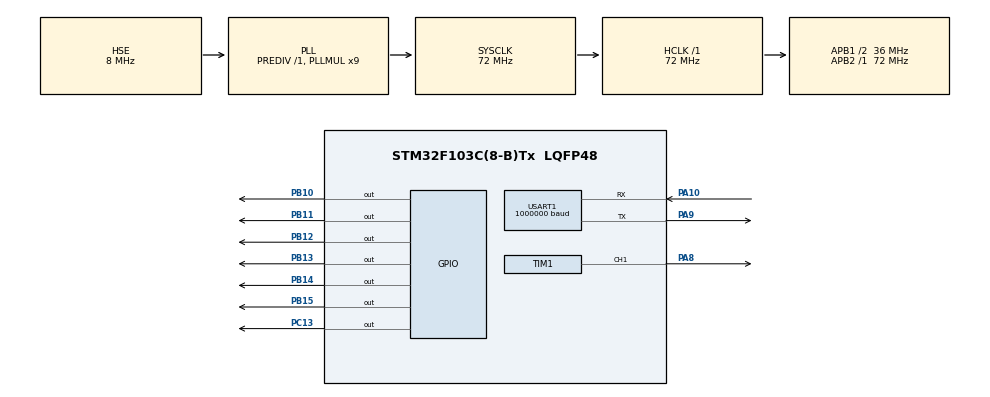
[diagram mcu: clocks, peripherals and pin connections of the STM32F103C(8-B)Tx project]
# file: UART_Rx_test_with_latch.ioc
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Dma.Request0=TIM1_CH1
Dma.TIM1_CH1.0.Direction=DMA_MEMORY_TO_PERIPH
Dma.TIM1_CH1.0.Instance=DMA1_Channel2
Dma.TIM1_CH1.0.MemDataAlignment=DMA_MDATAALIGN_BYTE
Dma.TIM1_CH1.0.MemInc=DMA_MINC_ENABLE
Dma.TIM1_CH1.0.Mode=DMA_CIRCULAR
Dma.TIM1_CH1.0.PeriphDataAlignment=DMA_PDATAALIGN_WORD
Dma.TIM1_CH1.0.PeriphInc=DMA_PINC_DISABLE
Dma.TIM1_CH1.0.Priority=DMA_PRIORITY_LOW
Mcu.Family=STM32F1
Mcu.Name=STM32F103C(8-B)Tx
Mcu.Package=LQFP48
NVIC.DMA1_Channel2_IRQn=true\:0\:0\:false\:false\:true\:false\:true
NVIC.PriorityGroup=NVIC_PRIORITYGROUP_4
NVIC.USART1_IRQn=true\:0\:0\:false\:false\:true\:true\:true
PA10.GPIO_PuPd=GPIO_PULLUP
PA10.Mode=Asynchronous
PA10.Signal=USART1_RX
PA13.Mode=Serial_Wire
PA13.Signal=SYS_JTMS-SWDIO
PA14.Mode=Serial_Wire
PA14.Signal=SYS_JTCK-SWCLK
PA8.GPIO_ModeDefaultPP=GPIO_MODE_AF_OD
PA8.Signal=S_TIM1_CH1
PA9.Mode=Asynchronous
PA9.Signal=USART1_TX
PB10.Signal=GPIO_Output
PB11.Signal=GPIO_Output
PB12.Signal=GPIO_Output
PB13.Signal=GPIO_Output
PB14.Signal=GPIO_Output
PB15.Signal=GPIO_Output
PC13-TAMPER-RTC.Signal=GPIO_Output
PC14-OSC32_IN.Mode=LSE-External-Oscillator
PC14-OSC32_IN.Signal=RCC_OSC32_IN
PC15-OSC32_OUT.Mode=LSE-External-Oscillator
PC15-OSC32_OUT.Signal=RCC_OSC32_OUT
PD0-OSC_IN.Mode=HSE-External-Oscillator
PD0-OSC_IN.Signal=RCC_OSC_IN
PD1-OSC_OUT.Mode=HSE-External-Oscillator
PD1-OSC_OUT.Signal=RCC_OSC_OUT
ProjectManager.HeapSize=0x200
ProjectManager.StackSize=0x400
ProjectManager.TargetToolchain=STM32CubeIDE
RCC.AHBFreq_Value=72000000
RCC.APB1CLKDivider=RCC_HCLK_DIV2
RCC.APB1Freq_Value=36000000
RCC.APB1TimFreq_Value=72000000
RCC.APB2Freq_Value=72000000
RCC.APB2TimFreq_Value=72000000
RCC.HCLKFreq_Value=72000000
RCC.PLLMUL=RCC_PLL_MUL9
RCC.PLLSourceVirtual=RCC_PLLSOURCE_HSE
RCC.SYSCLKFreq_VALUE=72000000
RCC.SYSCLKSource=RCC_SYSCLKSOURCE_PLLCLK
RCC.USBFreq_Value=72000000
SH.S_TIM1_CH1.0=TIM1_CH1,PWM Generation1 CH1
TIM1.Channel-PWM\ Generation1\ CH1=TIM_CHANNEL_1
TIM2.Prescaler=71
USART1.BaudRate=1000000
USART1.Mode=MODE_RX
USART1.Parity=PARITY_NONE
USART1.StopBits=STOPBITS_1
USART1.VirtualMode=VM_ASYNC
USART1.WordLength=WORDLENGTH_8B
VP_TIM1_VS_ClockSourceINT.Mode=Internal
VP_TIM2_VS_ClockSourceINT.Mode=Internal
board=custom

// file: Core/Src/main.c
/* USER CODE BEGIN Header */
/**
  ******************************************************************************
  * @file           : main.c
  * @brief          : Main program body
  ******************************************************************************
  * @attention
  *
  * Copyright (c) 2022 STMicroelectronics.
  * All rights reserved.
  *
  * This software is licensed under terms that can be found in the LICENSE file
  * in the root directory of this software component.
  * If no LICENSE file comes with this software, it is provided AS-IS.
  *
  ******************************************************************************
  */
/* USER CODE END Header */
#include "main.h"

/* USER CODE BEGIN Includes */
#include "ARGB.h"
/* USER CODE END Includes */

/* USER CODE BEGIN PD */
#define MAX_NUM_LED 87
#define LED_BRIGHT 100
#define LED_CHANNEL_COUNT 16
/* USER CODE END PD */

TIM_HandleTypeDef htim1;
TIM_HandleTypeDef htim2;
DMA_HandleTypeDef hdma_tim1_ch1;

UART_HandleTypeDef huart1;

/* USER CODE BEGIN PV */
uint8_t LEDLength[LED_CHANNEL_COUNT] = {0};
uint16_t totalLEDLength = 0;
uint8_t LEDLengthReceive1[LED_CHANNEL_COUNT + 2] = {0};
uint8_t LEDLengthReceive2[LED_CHANNEL_COUNT + 2] = {0};
uint8_t LEDLengthReceive3[LED_CHANNEL_COUNT + 2] = {0};
uint8_t* LED = 0;
uint16_t place = 0;
//uint16_t flag = 0;
/* USER CODE END PV */

void SystemClock_Config(void);
static void MX_GPIO_Init(void);
static void MX_DMA_Init(void);
static void MX_TIM1_Init(void);
static void MX_USART1_UART_Init(void);
static void MX_TIM2_Init(void);

/* USER CODE BEGIN 0 */
void delay_us (uint16_t us)
{
	__HAL_TIM_SET_COUNTER(&htim2,0);
	while (__HAL_TIM_GET_COUNTER(&htim2) < us);
}

void fireLED(){
	place = 0;
	for(uint8_t ID = 0; ID < LED_CHANNEL_COUNT; ++ID){
		if(LEDLength[ID] == 0) continue;
		// MUX OUTPUT CHANNEL SELECT
		HAL_GPIO_WritePin(GPIOB, GPIO_PIN_10,  (ID >> 0) & (0x1));
		HAL_GPIO_WritePin(GPIOB, GPIO_PIN_11,  (ID >> 1) & (0x1));
		HAL_GPIO_WritePin(GPIOB, GPIO_PIN_12,  (ID >> 2) & (0x1));
		HAL_GPIO_WritePin(GPIOB, GPIO_PIN_13,  (ID >> 3) & (0x1));
		HAL_GPIO_WritePin(GPIOB, GPIO_PIN_14,  ~(ID >> 3) & (0x1));

		while (!ARGB_Fire(LED + place*3, LEDLength[ID]));
		place += LEDLength[ID];
		if(place == totalLEDLength)
			break;
		else
			delay_us(LEDLength[ID]*30 + 100);
//			HAL_Delay(LEDLength[ID]/20);
	}
	return;
}
/* USER CODE END 0 */

int main(void)
{

  /* MCU Configuration--------------------------------------------------------*/

  /* Reset of all peripherals, Initializes the Flash interface and the Systick. */
  HAL_Init();

  /* Configure the system clock */
  SystemClock_Config();

  /* Initialize all configured peripherals */
  MX_GPIO_Init();
  MX_DMA_Init();
  MX_TIM1_Init();
  MX_USART1_UART_Init();
  MX_TIM2_Init();
  /* USER CODE BEGIN 2 */
  HAL_TIM_Base_Start(&htim2);
  HAL_GPIO_WritePin(GPIOC, GPIO_PIN_13, GPIO_PIN_SET);
  ARGB_Init();

  while(1){
	  HAL_UART_Receive(&huart1, LEDLengthReceive1, sizeof(LEDLengthReceive1), 100);
	  if (LEDLengthReceive1[0]) break;
  }
  HAL_GPIO_TogglePin(GPIOC, GPIO_PIN_13);
  while(1){
	  HAL_UART_Receive(&huart1, LEDLengthReceive2, sizeof(LEDLengthReceive2), 100);
	  if (LEDLengthReceive2[0]) break;
  }
  HAL_GPIO_TogglePin(GPIOC, GPIO_PIN_13);
  while(1){
	  HAL_UART_Receive(&huart1, LEDLengthReceive3, sizeof(LEDLengthReceive3), 100);
	  if (LEDLengthReceive3[0]) break;
  }

  uint8_t a, b, c;
  for(int i = 0; i < LED_CHANNEL_COUNT; ++i){
	  a = LEDLengthReceive1[i+1];
	  b = LEDLengthReceive2[i+1];
	  c = LEDLengthReceive3[i+1];
	  LEDLength[i] = (a & b) | (a & c) | (b & c);
	  totalLEDLength += LEDLength[i];
  }

  LED = calloc(totalLEDLength * 3, sizeof(uint8_t));
//  for(int i = 0; i < totalLEDLength * 3; ++i)
//	  LED[i] = 50;
//  fireLED();

  HAL_GPIO_TogglePin(GPIOC, GPIO_PIN_13);
  /* USER CODE END 2 */

  /* Infinite loop */
  /* USER CODE BEGIN WHILE */
//  HAL_UART_Receive_IT (&huart1, LED, totalLEDLength * 3);
  while (1)
  {
    /* USER CODE END WHILE */

    /* USER CODE BEGIN 3 */
	  if(HAL_UART_Receive(&huart1, LED, totalLEDLength * 3, 100) == HAL_OK)
		  fireLED();
  }
  /* USER CODE END 3 */
}

void SystemClock_Config(void)
{
  RCC_OscInitTypeDef RCC_OscInitStruct = {0};
  RCC_ClkInitTypeDef RCC_ClkInitStruct = {0};

  /** Initializes the RCC Oscillators according to the specified parameters
  * in the RCC_OscInitTypeDef structure.
  */
  RCC_OscInitStruct.OscillatorType = RCC_OSCILLATORTYPE_HSE;
  RCC_OscInitStruct.HSEState = RCC_HSE_ON;
  RCC_OscInitStruct.HSEPredivValue = RCC_HSE_PREDIV_DIV1;
  RCC_OscInitStruct.HSIState = RCC_HSI_ON;
  RCC_OscInitStruct.PLL.PLLState = RCC_PLL_ON;
  RCC_OscInitStruct.PLL.PLLSource = RCC_PLLSOURCE_HSE;
  RCC_OscInitStruct.PLL.PLLMUL = RCC_PLL_MUL9;
  if (HAL_RCC_OscConfig(&RCC_OscInitStruct) != HAL_OK)
  {
    Error_Handler();
  }
  /** Initializes the CPU, AHB and APB buses clocks
  */
  RCC_ClkInitStruct.ClockType = RCC_CLOCKTYPE_HCLK|RCC_CLOCKTYPE_SYSCLK
                              |RCC_CLOCKTYPE_PCLK1|RCC_CLOCKTYPE_PCLK2;
  RCC_ClkInitStruct.SYSCLKSource = RCC_SYSCLKSOURCE_PLLCLK;
  RCC_ClkInitStruct.AHBCLKDivider = RCC_SYSCLK_DIV1;
  RCC_ClkInitStruct.APB1CLKDivider = RCC_HCLK_DIV2;
  RCC_ClkInitStruct.APB2CLKDivider = RCC_HCLK_DIV1;

  if (HAL_RCC_ClockConfig(&RCC_ClkInitStruct, FLASH_LATENCY_2) != HAL_OK)
  {
    Error_Handler();
  }
}

static void MX_TIM1_Init(void)
{

  TIM_ClockConfigTypeDef sClockSourceConfig = {0};
  TIM_MasterConfigTypeDef sMasterConfig = {0};
  TIM_OC_InitTypeDef sConfigOC = {0};
  TIM_BreakDeadTimeConfigTypeDef sBreakDeadTimeConfig = {0};

  htim1.Instance = TIM1;
  htim1.Init.Prescaler = 0;
  htim1.Init.CounterMode = TIM_COUNTERMODE_UP;
  htim1.Init.Period = 65535;
  htim1.Init.ClockDivision = TIM_CLOCKDIVISION_DIV1;
  htim1.Init.RepetitionCounter = 0;
  htim1.Init.AutoReloadPreload = TIM_AUTORELOAD_PRELOAD_DISABLE;
  if (HAL_TIM_Base_Init(&htim1) != HAL_OK)
  {
    Error_Handler();
  }
  sClockSourceConfig.ClockSource = TIM_CLOCKSOURCE_INTERNAL;
  if (HAL_TIM_ConfigClockSource(&htim1, &sClockSourceConfig) != HAL_OK)
  {
    Error_Handler();
  }
  if (HAL_TIM_PWM_Init(&htim1) != HAL_OK)
  {
    Error_Handler();
  }
  sMasterConfig.MasterOutputTrigger = TIM_TRGO_RESET;
  sMasterConfig.MasterSlaveMode = TIM_MASTERSLAVEMODE_DISABLE;
  if (HAL_TIMEx_MasterConfigSynchronization(&htim1, &sMasterConfig) != HAL_OK)
  {
    Error_Handler();
  }
  sConfigOC.OCMode = TIM_OCMODE_PWM1;
  sConfigOC.Pulse = 0;
  sConfigOC.OCPolarity = TIM_OCPOLARITY_HIGH;
  sConfigOC.OCNPolarity = TIM_OCNPOLARITY_HIGH;
  sConfigOC.OCFastMode = TIM_OCFAST_DISABLE;
  sConfigOC.OCIdleState = TIM_OCIDLESTATE_RESET;
  sConfigOC.OCNIdleState = TIM_OCNIDLESTATE_RESET;
  if (HAL_TIM_PWM_ConfigChannel(&htim1, &sConfigOC, TIM_CHANNEL_1) != HAL_OK)
  {
    Error_Handler();
  }
  sBreakDeadTimeConfig.OffStateRunMode = TIM_OSSR_DISABLE;
  sBreakDeadTimeConfig.OffStateIDLEMode = TIM_OSSI_DISABLE;
  sBreakDeadTimeConfig.LockLevel = TIM_LOCKLEVEL_OFF;
  sBreakDeadTimeConfig.DeadTime = 0;
  sBreakDeadTimeConfig.BreakState = TIM_BREAK_DISABLE;
  sBreakDeadTimeConfig.BreakPolarity = TIM_BREAKPOLARITY_HIGH;
  sBreakDeadTimeConfig.AutomaticOutput = TIM_AUTOMATICOUTPUT_DISABLE;
  if (HAL_TIMEx_ConfigBreakDeadTime(&htim1, &sBreakDeadTimeConfig) != HAL_OK)
  {
    Error_Handler();
  }
  HAL_TIM_MspPostInit(&htim1);

}

static void MX_TIM2_Init(void)
{

  TIM_ClockConfigTypeDef sClockSourceConfig = {0};
  TIM_MasterConfigTypeDef sMasterConfig = {0};

  htim2.Instance = TIM2;
  htim2.Init.Prescaler = 71;
  htim2.Init.CounterMode = TIM_COUNTERMODE_UP;
  htim2.Init.Period = 65535;
  htim2.Init.ClockDivision = TIM_CLOCKDIVISION_DIV1;
  htim2.Init.AutoReloadPreload = TIM_AUTORELOAD_PRELOAD_DISABLE;
  if (HAL_TIM_Base_Init(&htim2) != HAL_OK)
  {
    Error_Handler();
  }
  sClockSourceConfig.ClockSource = TIM_CLOCKSOURCE_INTERNAL;
  if (HAL_TIM_ConfigClockSource(&htim2, &sClockSourceConfig) != HAL_OK)
  {
    Error_Handler();
  }
  sMasterConfig.MasterOutputTrigger = TIM_TRGO_RESET;
  sMasterConfig.MasterSlaveMode = TIM_MASTERSLAVEMODE_DISABLE;
  if (HAL_TIMEx_MasterConfigSynchronization(&htim2, &sMasterConfig) != HAL_OK)
  {
    Error_Handler();
  }

}

static void MX_USART1_UART_Init(void)
{

  huart1.Instance = USART1;
  huart1.Init.BaudRate = 1000000;
  huart1.Init.WordLength = UART_WORDLENGTH_8B;
  huart1.Init.StopBits = UART_STOPBITS_1;
  huart1.Init.Parity = UART_PARITY_NONE;
  huart1.Init.Mode = UART_MODE_RX;
  huart1.Init.HwFlowCtl = UART_HWCONTROL_NONE;
  huart1.Init.OverSampling = UART_OVERSAMPLING_16;
  if (HAL_UART_Init(&huart1) != HAL_OK)
  {
    Error_Handler();
  }

}

static void MX_DMA_Init(void)
{

  /* DMA controller clock enable */
  __HAL_RCC_DMA1_CLK_ENABLE();

  /* DMA interrupt init */
  /* DMA1_Channel2_IRQn interrupt configuration */
  HAL_NVIC_SetPriority(DMA1_Channel2_IRQn, 0, 0);
  HAL_NVIC_EnableIRQ(DMA1_Channel2_IRQn);

}

static void MX_GPIO_Init(void)
{
  GPIO_InitTypeDef GPIO_InitStruct = {0};

  /* GPIO Ports Clock Enable */
  __HAL_RCC_GPIOC_CLK_ENABLE();
  __HAL_RCC_GPIOD_CLK_ENABLE();
  __HAL_RCC_GPIOB_CLK_ENABLE();
  __HAL_RCC_GPIOA_CLK_ENABLE();

  /*Configure GPIO pin Output Level */
  HAL_GPIO_WritePin(GPIOC, GPIO_PIN_13, GPIO_PIN_RESET);

  /*Configure GPIO pin Output Level */
  HAL_GPIO_WritePin(GPIOB, GPIO_PIN_10|GPIO_PIN_11|GPIO_PIN_12|GPIO_PIN_13
                          |GPIO_PIN_14|GPIO_PIN_15, GPIO_PIN_RESET);

  /*Configure GPIO pin : PC13 */
  GPIO_InitStruct.Pin = GPIO_PIN_13;
  GPIO_InitStruct.Mode = GPIO_MODE_OUTPUT_PP;
  GPIO_InitStruct.Pull = GPIO_NOPULL;
  GPIO_InitStruct.Speed = GPIO_SPEED_FREQ_LOW;
  HAL_GPIO_Init(GPIOC, &GPIO_InitStruct);

  /*Configure GPIO pins : PB10 PB11 PB12 PB13
                           PB14 PB15 */
  GPIO_InitStruct.Pin = GPIO_PIN_10|GPIO_PIN_11|GPIO_PIN_12|GPIO_PIN_13
                          |GPIO_PIN_14|GPIO_PIN_15;
  GPIO_InitStruct.Mode = GPIO_MODE_OUTPUT_PP;
  GPIO_InitStruct.Pull = GPIO_NOPULL;
  GPIO_InitStruct.Speed = GPIO_SPEED_FREQ_LOW;
  HAL_GPIO_Init(GPIOB, &GPIO_InitStruct);

}

/* USER CODE BEGIN 4 */
void HAL_UART_RxCpltCallback(UART_HandleTypeDef *huart)
{
	HAL_GPIO_TogglePin(GPIOC, GPIO_PIN_13);
//	flag = 1;
    HAL_UART_Receive_IT(&huart1, LED, totalLEDLength * 3);
}
/* USER CODE END 4 */

void Error_Handler(void)
{
  /* USER CODE BEGIN Error_Handler_Debug */
  /* User can add his own implementation to report the HAL error return state */
//  __disable_irq();
//  while (1)
//  {
//  }
  /* USER CODE END Error_Handler_Debug */
}
